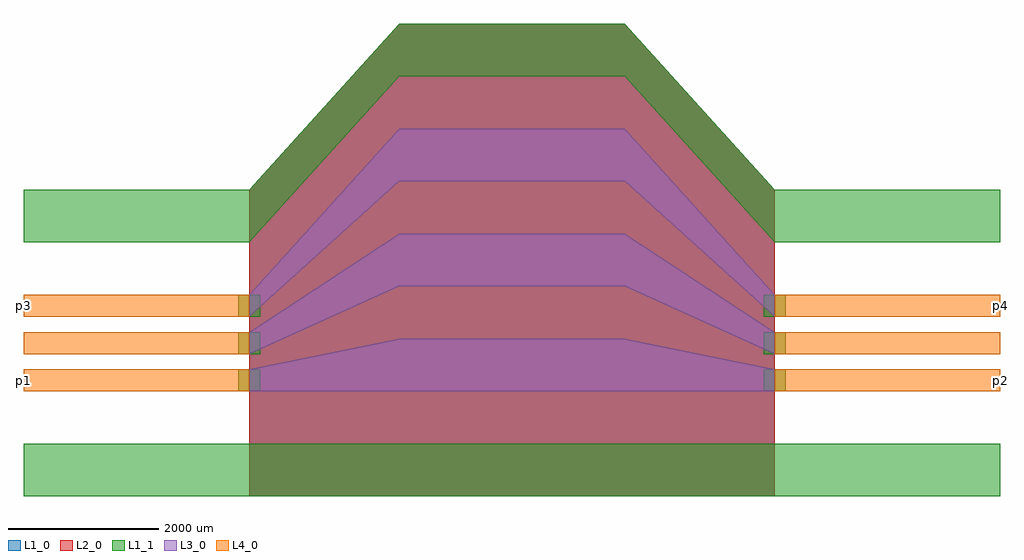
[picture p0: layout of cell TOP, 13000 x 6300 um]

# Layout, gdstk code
import gdstk
lib = gdstk.Library(unit=1e-6, precision=1e-09)
def R(c, l, rs):  # rectangles x0, y0, x1, y1
    for r in rs: c.add(gdstk.rectangle(r[:2], r[2:], *l))
def A(c, l, x, y, w, h, nx, ny, dx, dy):  # array of equal rectangles
    R(c, l, [(x+i*dx, y+j*dy, x+i*dx+w, y+j*dy+h) for i in range(nx) for j in range(ny)])
def P(c, l, *ps):  # polygons
    for p in ps: c.add(gdstk.Polygon(p, *l))
L1_0 = (1, 0)
L1_1 = (1, 1)
L2_0 = (2, 0)
L3_0 = (3, 0)
L4_0 = (4, 0)

top = lib.new_cell('TOP')
R(top, L1_0, [(5000,0,8000,6300)])
P(top, L1_0, [(3000,0),(3000,4087),(5000,6300),(5000,0)],
  [(8000,0),(8000,6300),(10000,4087),(10000,0)])
A(top, L1_1, 2854, 1400, 292, 293, 1, 3, 0, 497)
A(top, L1_1, 9854, 1400, 292, 293, 1, 3, 0, 497)
R(top, L1_1, [(0,0,13000,700), (0,3387,3000,4087), (10000,3387,13000,4087), (5000,5600,8000,6300)])
P(top, L1_1, [(3000,3387),(3000,4087),(5000,6300),(5000,5600)],
  [(10000,3387),(8000,5600),(8000,6300),(10000,4087)])
R(top, L2_0, [(5000,0,8000,6300)])
P(top, L2_0, [(3000,0),(3000,4087),(5000,6300),(5000,0)],
  [(8000,0),(8000,6300),(10000,4087),(10000,0)])
A(top, L3_0, 5000, 1400, 3000, 700, 1, 3, 0, 1400)
P(top, L3_0, [(3000,1400),(3000,1693),(5000,2100),(5000,1400)],
  [(8000,1400),(8000,2100),(10000,1693),(10000,1400)],
  [(3000,1897),(3000,2190),(5000,3500),(5000,2800)],
  [(10000,1897),(8000,2800),(8000,3500),(10000,2190)],
  [(3000,2394),(3000,2687),(5000,4900),(5000,4200)],
  [(10000,2394),(8000,4200),(8000,4900),(10000,2687)])
A(top, L4_0, 0, 1400, 3000, 293, 1, 3, 0, 497)
A(top, L4_0, 10000, 1400, 3000, 293, 1, 3, 0, 497)
top.add(gdstk.Label('p1', (0,1546), layer=10, texttype=0))
top.add(gdstk.Label('p2', (13000,1546), layer=10, texttype=0))
top.add(gdstk.Label('p3', (0,2540), layer=10, texttype=0))
top.add(gdstk.Label('p4', (13000,2540), layer=10, texttype=0))

lib.write_gds('TOP.gds')
